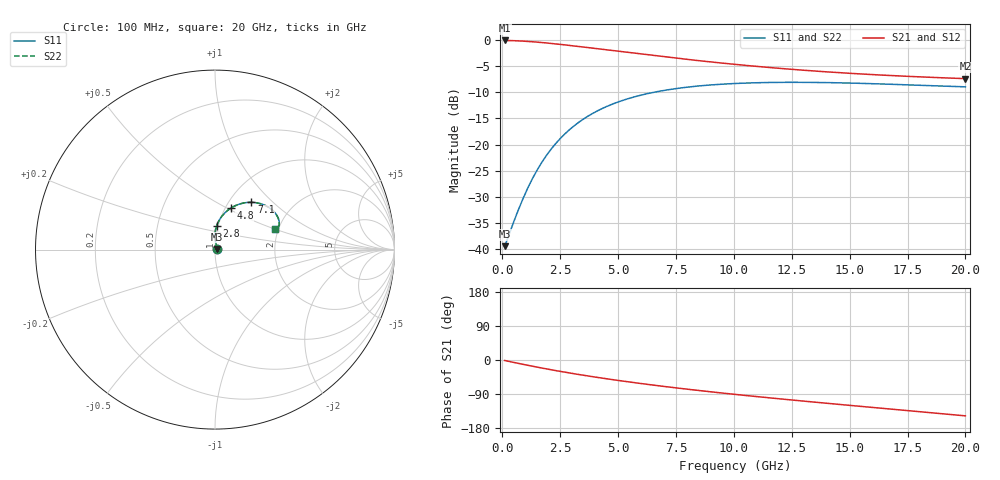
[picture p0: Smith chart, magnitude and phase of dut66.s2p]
! Touchstone file exported from HFSS 2024.1.0
!  File:  C:/UserFiles/LocalFiles/RDL_TSV_Batchsim/temp_RDL_TSV_66_1779410348.aedt
!  Generated:  08:57:37 AM May 22, 2026
!  Design:  RDL_TSV
!  Project:  temp_RDL_TSV_66_1779410348
!  Setup:  Setup1
!  Solution:  Sweep
! Variables:
!  dtsv = 6.22um
!  hbump = 3um
!  htsv = 81.95um
!  ldown = 139.57um
!  lrdl = 368.7um
!  p = 40
!  p1 = 55.41um
!  rhole = 10um
!  subl = 1893.51um
!  t = 450um
!  tdown = 3.35um
!  trdl = 4.92um
!  viad = 10um
!  wdown = 27.79um
!  wrdl = 15.79um
!  xbump = 18um
# GHz S MA R 50.000000
! Terminal data exported
! Port[1] = TM1_1_T1
! Port[2] = TM1_4_T1
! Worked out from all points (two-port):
!   200 points, 100 MHz to 20 GHz, reference 50 ohm
!   highest |S21| = -0.09 dB at 100 MHz (marker M1); lowest = -7.4 dB at 20 GHz (marker M2)
!   |S21| within 3 dB of the highest: start of sweep to 6.76 GHz
!   lowest |S11| = -39.4 dB at 100 MHz (marker M3), VSWR 1.02, Z = 51 + j0.344 ohm
!   |S11| at or under -10 dB: start of sweep to 6.551 GHz
!   |S22| runs from -39.4 to -8.1 dB; largest |S21 - S12| = 1e-14
!   S11 on the Smith chart (normalised r, x): 100 MHz: 1.02, +0.01; 2.8 GHz: 0.98, +0.26; 4.8 GHz: 1.06, +0.52; 7.1 GHz: 1.26, +0.75; 20 GHz: 1.93, +0.51
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0.1  0.01067 18.4  0.9896 -1.3  0.9896 -1.3  0.01067 18.4
! Gamma 0 0 0 0
! Port Impedance 50 0 50 0
0.5  0.0184 59.7  0.9846 -6.5  0.9846 -6.5  0.0184 59.7
0.8  0.0271 75.0  0.978 -10.3  0.978 -10.3  0.0271 75.0
1.1  0.03833 83.7  0.9691 -14.0  0.9691 -14.0  0.03833 83.7
1.4  0.05185 88.2  0.9582 -17.6  0.9582 -17.6  0.05184 88.2
1.7  0.06724 90.0  0.9458 -21.1  0.9458 -21.1  0.06722 90.0
2.1  0.08987 89.9  0.9274 -25.7  0.9274 -25.7  0.08984 89.9
2.4  0.1078 88.7  0.9127 -29.0  0.9127 -29.0  0.1078 88.7
2.8  0.1324 86.1  0.8924 -33.2  0.8924 -33.2  0.1324 86.1
3.5  0.175 80.5  0.8562 -40.2  0.8562 -40.2  0.175 80.5
4.1  0.2094 75.3  0.8254 -45.9  0.8254 -45.9  0.2094 75.3
4.8  0.2458 69.4  0.7903 -52.2  0.7903 -52.2  0.2457 69.4
5.7  0.2856 62.2  0.7474 -59.8  0.7474 -59.8  0.2856 62.2
6.8  0.324 54.3  0.6989 -68.4  0.6989 -68.4  0.3239 54.3
7.1  0.3326 52.4  0.6865 -70.7  0.6865 -70.7  0.3325 52.4
8.6  0.3653 43.7  0.6302 -81.3  0.6302 -81.3  0.3652 43.7
10.1  0.384 36.7  0.583 -91.1  0.583 -91.1  0.3839 36.7
11.7  0.3927 30.7  0.5416 -100.8  0.5416 -100.8  0.3926 30.7
13.4  0.3929 25.8  0.5064 -110.7  0.5064 -110.7  0.3928 25.8
15  0.3873 22.4  0.4801 -119.7  0.4801 -119.7  0.3872 22.4
16.7  0.3777 20.1  0.4579 -129.1  0.4579 -129.1  0.3776 20.0
20  0.3564 19.0  0.4269 -147.4  0.4269 -147.4  0.3564 19.0
